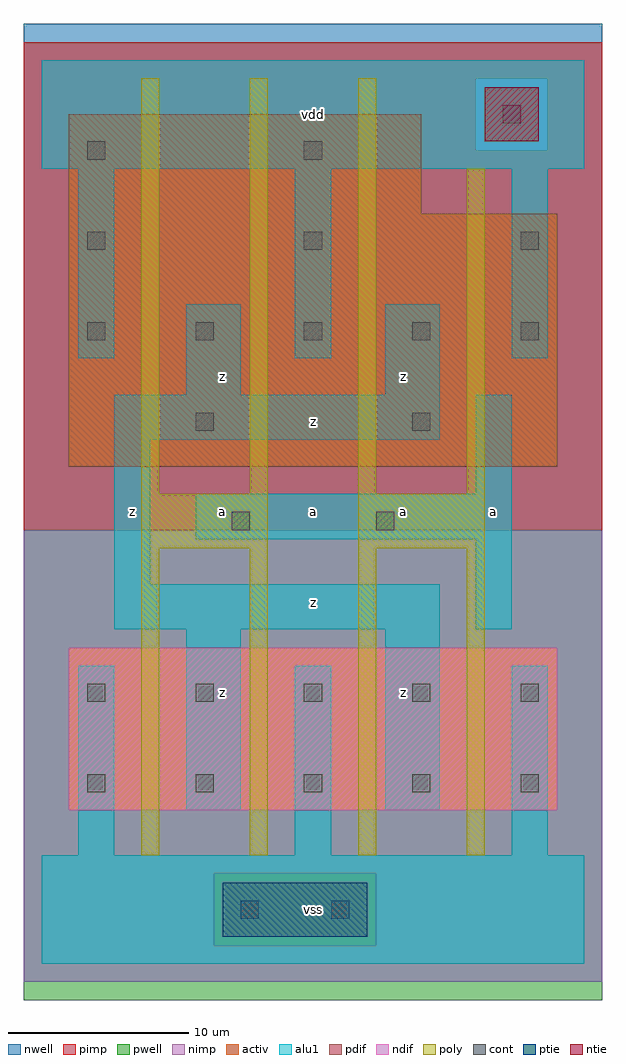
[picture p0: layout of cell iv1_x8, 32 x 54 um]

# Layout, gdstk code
import gdstk
lib = gdstk.Library(unit=1e-6, precision=1e-09)
def R(c, l, rs):  # rectangles x0, y0, x1, y1
    for r in rs: c.add(gdstk.rectangle(r[:2], r[2:], *l))
def A(c, l, x, y, w, h, nx, ny, dx, dy):  # array of equal rectangles
    R(c, l, [(x+i*dx, y+j*dy, x+i*dx+w, y+j*dy+h) for i in range(nx) for j in range(ny)])
ndif = (3, 0)
pdif = (4, 0)
ntie = (5, 0)
ptie = (6, 0)
cont = (25, 0)
pwell = (41, 0)
nwell = (42, 0)
activ = (43, 0)
pimp = (44, 0)
nimp = (45, 0)
poly = (46, 0)
alu1 = (49, 0)

iv1_x8 = lib.new_cell('iv1_x8')
R(iv1_x8, ndif, [(1.5,8.5,28.5,17.5)])
R(iv1_x8, pdif, [(1.5,27.5,28.5,41.5), (1.5,41.5,21,47)])
R(iv1_x8, ntie, [(24.5,45.5,27.5,48.5)])
R(iv1_x8, ptie, [(10,1.5,18,4.5)])
A(iv1_x8, cont, 2.5, 9.5, 1, 1, 5, 2, 6, 5)
A(iv1_x8, cont, 2.5, 34.5, 1, 1, 5, 1, 6, 0)
A(iv1_x8, cont, 2.5, 39.5, 1, 1, 3, 1, 12, 0)
R(iv1_x8, cont, [(11,2.5,12,3.5), (16,2.5,17,3.5), (10.5,24,11.5,25), (18.5,24,19.5,25), (8.5,29.5,9.5,30.5), (20.5,29.5,21.5,30.5), (2.5,44.5,3.5,45.5), (14.5,44.5,15.5,45.5), (25.5,46.5,26.5,47.5)])
R(iv1_x8, pwell, [(-1,-2,31,24)])
R(iv1_x8, nwell, [(-1,24,31,52)])
R(iv1_x8, activ, [(10,1.5,18,4.5), (1.5,8.5,28.5,17.5), (1.5,27.5,28.5,41.5), (1.5,41.5,21,47), (24.5,45.5,27.5,48.5)])
R(iv1_x8, pimp, [(9.5,1,18.5,5), (-1,24,31,45), (-1,45,24,49), (28,45,31,49), (-1,49,31,51)])
R(iv1_x8, nimp, [(-1,-1,31,1), (-1,1,9.5,5), (18.5,1,31,5), (-1,5,31,24), (24,45,28,49)])
A(iv1_x8, poly, 5.5, 6, 1, 17, 4, 1, 6, 0)
A(iv1_x8, poly, 5.5, 26, 1, 23, 3, 1, 6, 0)
R(iv1_x8, poly, [(5.5,23,12.5,26), (17.5,23,24.5,26), (23.5,26,24.5,44)])
A(iv1_x8, alu1, 2, 6, 2, 10.5, 3, 2, 12, 27.5)
R(iv1_x8, alu1, [(0,0,30,6), (8,8.5,11,18.5), (19,8.5,22,18.5), (4,18.5,22,21), (24,18.5,26,23.5), (4,21,6,29), (8.5,23.5,26,26), (24,26,26,31.5), (4,29,22,31.5), (8,31.5,11,36.5), (19,31.5,22,36.5), (0,44,30,50)])
iv1_x8.add(gdstk.Label('z', (10,15), layer=49, texttype=0))
iv1_x8.add(gdstk.Label('z', (5,25), layer=49, texttype=0))
iv1_x8.add(gdstk.Label('a', (10,25), layer=49, texttype=0))
iv1_x8.add(gdstk.Label('z', (10,32.5), layer=49, texttype=0))
iv1_x8.add(gdstk.Label('vss', (15,3), layer=49, texttype=0))
iv1_x8.add(gdstk.Label('z', (15,20), layer=49, texttype=0))
iv1_x8.add(gdstk.Label('a', (15,25), layer=49, texttype=0))
iv1_x8.add(gdstk.Label('z', (15,30), layer=49, texttype=0))
iv1_x8.add(gdstk.Label('vdd', (15,47), layer=49, texttype=0))
iv1_x8.add(gdstk.Label('z', (20,15), layer=49, texttype=0))
iv1_x8.add(gdstk.Label('a', (20,25), layer=49, texttype=0))
iv1_x8.add(gdstk.Label('z', (20,32.5), layer=49, texttype=0))
iv1_x8.add(gdstk.Label('a', (25,25), layer=49, texttype=0))

lib.write_gds('iv1_x8.gds')
